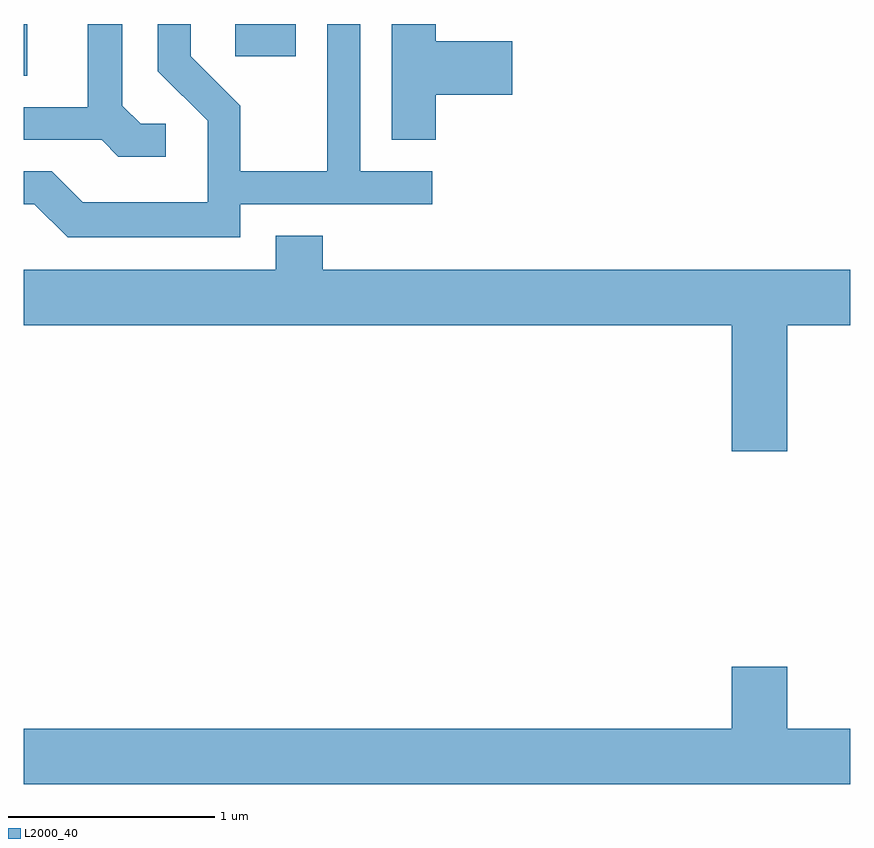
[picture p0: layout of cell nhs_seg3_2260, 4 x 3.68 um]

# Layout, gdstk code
import gdstk
lib = gdstk.Library(unit=1e-6, precision=1e-09)
def R(c, l, rs):  # rectangles x0, y0, x1, y1
    for r in rs: c.add(gdstk.rectangle(r[:2], r[2:], *l))
def P(c, l, *ps):  # polygons
    for p in ps: c.add(gdstk.Polygon(p, *l))
L2000_40 = (2000, 40)

nhs_seg3_2260 = lib.new_cell('nhs_seg3_2260')
R(nhs_seg3_2260, L2000_40, [(251.611,1151.641,251.629,1151.892), (252.636,1151.736,252.929,1151.892)])
P(nhs_seg3_2260, L2000_40, [(252.298,1151.409),(252.177,1151.409),(252.089,1151.497),(252.089,1151.892),(251.921,1151.892),(251.921,1151.489),(251.611,1151.489),(251.611,1151.331),(251.989,1151.331),(252.069,1151.251),(252.298,1151.251)],
  [(252.659,1151.021),(253.588,1151.021),(253.588,1151.179),(253.239,1151.179),(253.239,1151.892),(253.081,1151.892),(253.081,1151.179),(252.659,1151.179),(252.659,1151.497),(252.419,1151.737),(252.419,1151.892),(252.261,1151.892),(252.261,1151.664),(252.501,1151.424),(252.501,1151.029),(251.897,1151.029),(251.747,1151.179),(251.611,1151.179),(251.611,1151.021),(251.664,1151.021),(251.824,1150.861),(252.659,1150.861)],
  [(253.604,1151.551),(253.974,1151.551),(253.974,1151.809),(253.604,1151.809),(253.604,1151.892),(253.391,1151.892),(253.391,1151.331),(253.604,1151.331)],
  [(255.304,1150.436),(255.611,1150.436),(255.611,1150.704),(253.059,1150.704),(253.059,1150.869),(252.831,1150.869),(252.831,1150.704),(251.611,1150.704),(251.611,1150.436),(255.036,1150.436),(255.036,1149.826),(255.304,1149.826)],
  [(255.611,1148.484),(255.304,1148.484),(255.304,1148.784),(255.036,1148.784),(255.036,1148.484),(251.611,1148.484),(251.611,1148.216),(255.611,1148.216)])

lib.write_gds('nhs_seg3_2260.gds')
